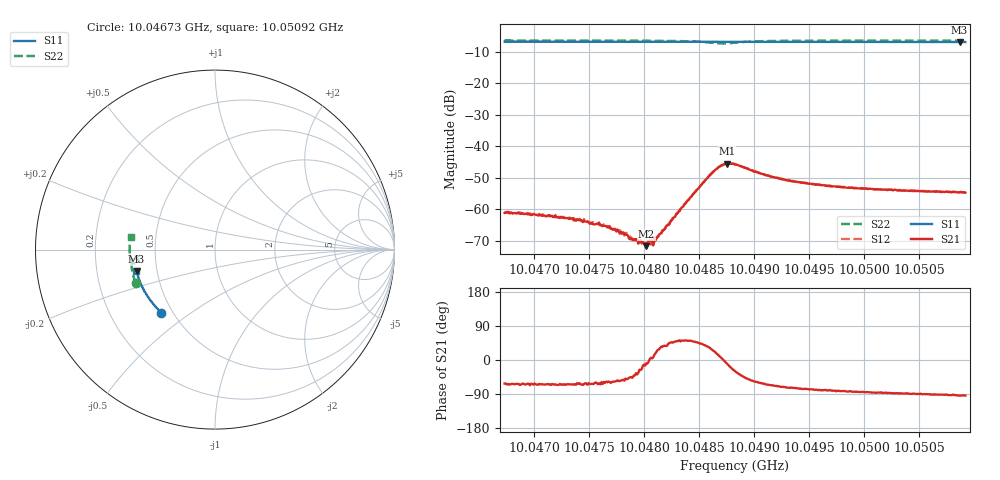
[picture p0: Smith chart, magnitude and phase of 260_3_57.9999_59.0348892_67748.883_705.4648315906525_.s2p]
#  HZ  S  RI  R  50.00
! Rohde & Schwarz Vector Network Analyzer
! Rohde-Schwarz,ZNB20-2Port,1311601062101988,3.16
! Created: UTC 3/21/2024, 1:01:57 AM
! freq[Hz]  re:S11  im:S11  re:S21  im:S21  re:S12  im:S12  re:S22  im:S22
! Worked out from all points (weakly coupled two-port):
!   401 points, 10.04673 GHz to 10.05092 GHz, reference 50 ohm
!   highest |S21| = -45.48 dB at 10.04875 GHz (marker M1); lowest = -71.7 dB at 10.04802 GHz (marker M2)
!   lowest |S11| = -6.9 dB at 10.05087 GHz (marker M3), VSWR 2.66, Z = 19.1 - j5.84 ohm
!   |S11| at or under -10 dB: nowhere
!   |S22| runs from -7.4 to -6.4 dB; largest |S21 - S12| = 0.00037
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1.004673e10  -0.2982 -0.3513  0.000408 -0.00077  0.000432 -0.000762  -0.4408 -0.1887
1.0047138e10  -0.3177 -0.3326  0.000349 -0.000729  0.000374 -0.000679  -0.4503 -0.1626
1.0047431e10  -0.331 -0.3185  0.000276 -0.000581  0.000323 -0.000567  -0.4561 -0.143
1.0047662e10  -0.3411 -0.3069  0.000266 -0.00044  0.000292 -0.000452  -0.4602 -0.1272
1.0047829e10  -0.348 -0.2984  0.000258 -0.000296  0.000287 -0.000292  -0.4622 -0.115
1.004785e10  -0.349 -0.2972  0.000249 -0.000293  0.000279 -0.000293  -0.4625 -0.1135
1.0047882e10  -0.3503 -0.2957  0.000238 -0.000242  0.000281 -0.00021  -0.4629 -0.1111
1.0047923e10  -0.3521 -0.2936  0.000268 -0.000187  0.000273 -0.000166  -0.4635 -0.1079
1.0048018e10  -0.3558 -0.2885  0.000256 -4.08e-05  0.000297 -1.16e-05  -0.4643 -0.1005
1.0048049e10  -0.3572 -0.2869  0.000315 1.59e-05  0.000286 1.71e-05  -0.4645 -0.0978
1.004807e10  -0.3578 -0.2857  0.000316 2.3e-05  0.000316 8.59e-05  -0.4644 -0.0963
1.0048091e10  -0.3587 -0.2846  0.000304 7.46e-05  0.000321 0.000111  -0.4647 -0.0945
1.0048133e10  -0.3603 -0.2825  0.000348 0.000185  0.000333 0.000184  -0.4648 -0.0911
1.0048593e10  -0.3773 -0.2572  0.00292 0.00185  0.00284 0.00199  -0.4415 -0.0494
1.0048677e10  -0.3801 -0.2527  0.0046 0.000957  0.00453 0.00125  -0.4276 -0.0545
1.0048751e10  -0.3825 -0.2488  0.00525 -0.000888  0.00528 -0.000595  -0.4244 -0.0687
1.0048824e10  -0.3851 -0.2451  0.00448 -0.00253  0.00471 -0.00225  -0.4342 -0.0787
1.004918e10  -0.3969 -0.2245  0.00122 -0.00299  0.00137 -0.00292  -0.4684 -0.055
1.0049525e10  -0.4071 -0.2042  0.000528 -0.00246  0.00071 -0.00242  -0.4745 -0.0264
1.0050227e10  -0.4247 -0.1615  0.000107 -0.00204  0.000224 -0.00203  -0.4753 0.0241
1.0050865e10  -0.4368 -0.1214  -0.000133 -0.00185  1.06e-05 -0.00187  -0.471 0.0671
1.0050918e10  -0.4377 -0.1181  -0.000123 -0.00183  -1.55e-05 -0.00183  -0.4705 0.0707
